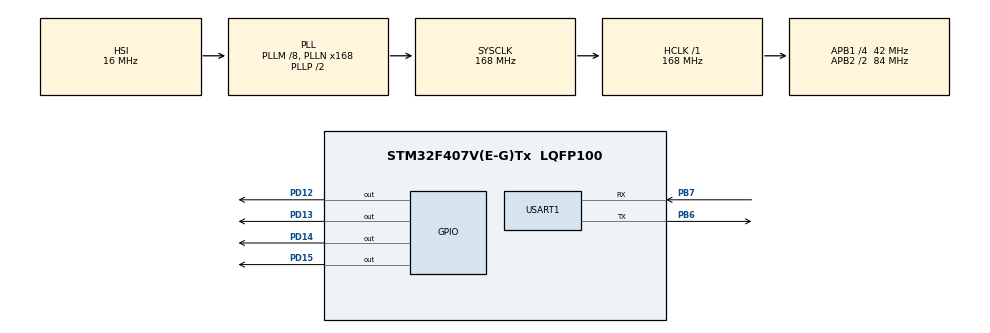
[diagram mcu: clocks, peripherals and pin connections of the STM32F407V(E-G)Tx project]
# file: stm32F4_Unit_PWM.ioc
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Mcu.Family=STM32F4
Mcu.Name=STM32F407V(E-G)Tx
Mcu.Package=LQFP100
NVIC.PriorityGroup=NVIC_PRIORITYGROUP_4
PA13.Mode=Trace_Asynchronous_SW
PA13.Signal=SYS_JTMS-SWDIO
PA14.Mode=Trace_Asynchronous_SW
PA14.Signal=SYS_JTCK-SWCLK
PB3.Mode=Trace_Asynchronous_SW
PB3.Signal=SYS_JTDO-SWO
PB6.Mode=Asynchronous
PB6.Signal=USART1_TX
PB7.Mode=Asynchronous
PB7.Signal=USART1_RX
PD12.Signal=GPIO_Output
PD13.Signal=GPIO_Output
PD14.Signal=GPIO_Output
PD15.Signal=GPIO_Output
ProjectManager.HeapSize=0x200
ProjectManager.StackSize=0x400
ProjectManager.TargetToolchain=SW4STM32
RCC.48MHZClocksFreq_Value=84000000
RCC.AHBFreq_Value=168000000
RCC.APB1CLKDivider=RCC_HCLK_DIV4
RCC.APB1Freq_Value=42000000
RCC.APB1TimFreq_Value=84000000
RCC.APB2CLKDivider=RCC_HCLK_DIV2
RCC.APB2Freq_Value=84000000
RCC.APB2TimFreq_Value=168000000
RCC.CortexFreq_Value=168000000
RCC.HCLKFreq_Value=168000000
RCC.HSE_VALUE=25000000
RCC.HSI_VALUE=16000000
RCC.LSE_VALUE=32768
RCC.PLLM=8
RCC.PLLN=168
RCC.SYSCLKFreq_VALUE=168000000
RCC.SYSCLKSource=RCC_SYSCLKSOURCE_PLLCLK
RCC.VCOOutputFreq_Value=336000000
USART1.VirtualMode=VM_ASYNC
VP_TIM4_VS_ClockSourceINT.Mode=Internal
board=custom

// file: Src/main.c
/* USER CODE BEGIN Header */
/**
  ******************************************************************************
  * @file           : main.c
  * @brief          : Main program body
  ******************************************************************************
  * @attention
  *
  * <h2><center>&copy; Copyright (c) 2019 STMicroelectronics.
  * All rights reserved.</center></h2>
  *
  * This software component is licensed by ST under BSD 3-Clause license,
  * the "License"; You may not use this file except in compliance with the
  * License. You may obtain a copy of the License at:
  *                        opensource.org/licenses/BSD-3-Clause
  *
  ******************************************************************************
  */
/* USER CODE END Header */

#include "main.h"

/* USER CODE BEGIN Includes */
#include "stdio.h"
#include "string.h"
#include "testFunction.h"

#define UNITY_TEST_RUN
/* USER CODE END Includes */

TIM_HandleTypeDef htim4;

UART_HandleTypeDef huart1;

void SystemClock_Config(void);
static void MX_GPIO_Init(void);
static void MX_TIM4_Init(void);
static void MX_USART1_UART_Init(void);

/* USER CODE BEGIN 0 */
void SendStringUsart1(char* s)
{
	HAL_UART_Transmit(&huart1, (uint8_t*)s, strlen(s), 1000);
}
/* USER CODE END 0 */

int main(void)
{

  /* MCU Configuration--------------------------------------------------------*/

  /* Reset of all peripherals, Initializes the Flash interface and the Systick. */
  HAL_Init();

  /* Configure the system clock */
  SystemClock_Config();

  /* Initialize all configured peripherals */
  MX_GPIO_Init();
  MX_TIM4_Init();
  MX_USART1_UART_Init();
  /* USER CODE BEGIN 2 */

  SendStringUsart1("test");

  printf("testworks exam \n");

  #ifdef UNITY_TEST_RUN

  UnityBegin("test/testFunctions.c");

  RUN_TEST(addFuntion_Test_CheckIfProperResponse);
  RUN_TEST(multiplicationFunction_Test_CheckIfProperResponse);
  RUN_TEST(gpioPinSet_Test_CheckIfProperPinSet);
  RUN_TEST(gpioPinSet_Test_CheckIfProperPinReset);

  return (UnityEnd());
  #endif
  /* USER CODE END 2 */

  /* Infinite loop */
  while (1)
  {

  }
}

void SystemClock_Config(void)
{
  RCC_OscInitTypeDef RCC_OscInitStruct = {0};
  RCC_ClkInitTypeDef RCC_ClkInitStruct = {0};

  /** Configure the main internal regulator output voltage
  */
  __HAL_RCC_PWR_CLK_ENABLE();
  __HAL_PWR_VOLTAGESCALING_CONFIG(PWR_REGULATOR_VOLTAGE_SCALE1);
  /** Initializes the CPU, AHB and APB busses clocks
  */
  RCC_OscInitStruct.OscillatorType = RCC_OSCILLATORTYPE_HSI;
  RCC_OscInitStruct.HSIState = RCC_HSI_ON;
  RCC_OscInitStruct.HSICalibrationValue = RCC_HSICALIBRATION_DEFAULT;
  RCC_OscInitStruct.PLL.PLLState = RCC_PLL_ON;
  RCC_OscInitStruct.PLL.PLLSource = RCC_PLLSOURCE_HSI;
  RCC_OscInitStruct.PLL.PLLM = 8;
  RCC_OscInitStruct.PLL.PLLN = 168;
  RCC_OscInitStruct.PLL.PLLP = RCC_PLLP_DIV2;
  RCC_OscInitStruct.PLL.PLLQ = 4;
  if (HAL_RCC_OscConfig(&RCC_OscInitStruct) != HAL_OK)
  {
    Error_Handler();
  }
  /** Initializes the CPU, AHB and APB busses clocks
  */
  RCC_ClkInitStruct.ClockType = RCC_CLOCKTYPE_HCLK|RCC_CLOCKTYPE_SYSCLK
                              |RCC_CLOCKTYPE_PCLK1|RCC_CLOCKTYPE_PCLK2;
  RCC_ClkInitStruct.SYSCLKSource = RCC_SYSCLKSOURCE_PLLCLK;
  RCC_ClkInitStruct.AHBCLKDivider = RCC_SYSCLK_DIV1;
  RCC_ClkInitStruct.APB1CLKDivider = RCC_HCLK_DIV4;
  RCC_ClkInitStruct.APB2CLKDivider = RCC_HCLK_DIV2;

  if (HAL_RCC_ClockConfig(&RCC_ClkInitStruct, FLASH_LATENCY_5) != HAL_OK)
  {
    Error_Handler();
  }
}

static void MX_TIM4_Init(void)
{

  TIM_ClockConfigTypeDef sClockSourceConfig = {0};
  TIM_MasterConfigTypeDef sMasterConfig = {0};

  htim4.Instance = TIM4;
  htim4.Init.Prescaler = 0;
  htim4.Init.CounterMode = TIM_COUNTERMODE_UP;
  htim4.Init.Period = 0;
  htim4.Init.ClockDivision = TIM_CLOCKDIVISION_DIV1;
  htim4.Init.AutoReloadPreload = TIM_AUTORELOAD_PRELOAD_DISABLE;
  if (HAL_TIM_Base_Init(&htim4) != HAL_OK)
  {
    Error_Handler();
  }
  sClockSourceConfig.ClockSource = TIM_CLOCKSOURCE_INTERNAL;
  if (HAL_TIM_ConfigClockSource(&htim4, &sClockSourceConfig) != HAL_OK)
  {
    Error_Handler();
  }
  sMasterConfig.MasterOutputTrigger = TIM_TRGO_RESET;
  sMasterConfig.MasterSlaveMode = TIM_MASTERSLAVEMODE_DISABLE;
  if (HAL_TIMEx_MasterConfigSynchronization(&htim4, &sMasterConfig) != HAL_OK)
  {
    Error_Handler();
  }

}

static void MX_USART1_UART_Init(void)
{

  huart1.Instance = USART1;
  huart1.Init.BaudRate = 115200;
  huart1.Init.WordLength = UART_WORDLENGTH_8B;
  huart1.Init.StopBits = UART_STOPBITS_1;
  huart1.Init.Parity = UART_PARITY_NONE;
  huart1.Init.Mode = UART_MODE_TX_RX;
  huart1.Init.HwFlowCtl = UART_HWCONTROL_NONE;
  huart1.Init.OverSampling = UART_OVERSAMPLING_16;
  if (HAL_UART_Init(&huart1) != HAL_OK)
  {
    Error_Handler();
  }

}

static void MX_GPIO_Init(void)
{
  GPIO_InitTypeDef GPIO_InitStruct = {0};

  /* GPIO Ports Clock Enable */
  __HAL_RCC_GPIOD_CLK_ENABLE();
  __HAL_RCC_GPIOA_CLK_ENABLE();
  __HAL_RCC_GPIOB_CLK_ENABLE();

  /*Configure GPIO pin Output Level */
  HAL_GPIO_WritePin(GPIOD, GPIO_PIN_12|GPIO_PIN_13|GPIO_PIN_14|GPIO_PIN_15, GPIO_PIN_RESET);

  /*Configure GPIO pins : PD12 PD13 PD14 PD15 */
  GPIO_InitStruct.Pin = GPIO_PIN_12|GPIO_PIN_13|GPIO_PIN_14|GPIO_PIN_15;
  GPIO_InitStruct.Mode = GPIO_MODE_OUTPUT_PP;
  GPIO_InitStruct.Pull = GPIO_NOPULL;
  GPIO_InitStruct.Speed = GPIO_SPEED_FREQ_LOW;
  HAL_GPIO_Init(GPIOD, &GPIO_InitStruct);

}

/* USER CODE BEGIN 4 */

//uint32_t __io_putchar(uint32_t ch)
//{
//	ITM_SendChar(ch);
//	return ch;
//}
int _write(int file, char *ptr, int len)
{
  /* Implement your write code here, this is used by puts and printf for example */
  int i=0;
  for(i=0 ; i<len ; i++)
  {
	  ITM_SendChar((*ptr++));
  }
  return len;
}

/* USER CODE END 4 */

void Error_Handler(void)
{
}

/************************ (C) COPYRIGHT STMicroelectronics *****END OF FILE****/
